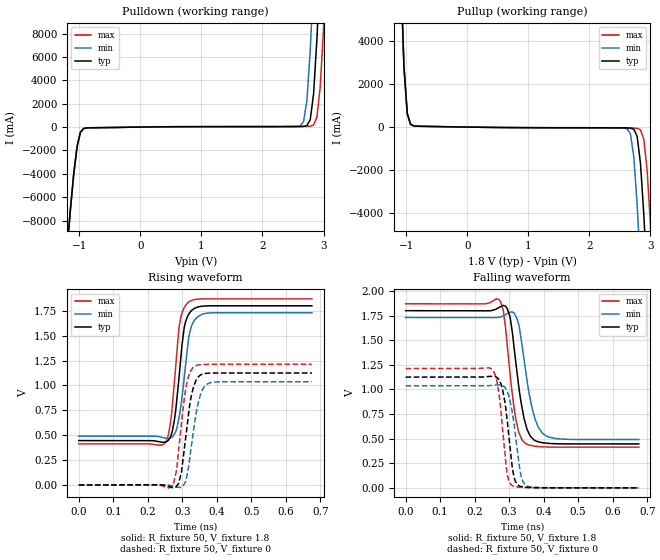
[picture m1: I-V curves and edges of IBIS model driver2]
| IBIS file invchain_weak_tr5ps.ibs created by PYS2IBIS3
| Missouri S&T EMC Lab
[IBIS Ver] 7.1
[File Name] invchain_weak_tr5ps.ibs
[File Rev] 1.0
[Date] Jul 27, 2026
[Source] inv_chain variant 'weak' -- half drive at every stage
[Notes] Parameter selection; sim_time=6.756e-10, tr=tf=5.000e-12.
[Component] invchain
[Manufacturer] s2ibispy study
[Package]
| variable   typ   min   max
R_pkg 0 NA NA
L_pkg 0H NA NA
C_pkg 0F NA NA
[Pin]  signal_name   model_name   R_pin   L_pin   C_pin
VSSQ   VSSQ   Gnd
VCCQ   VCCQ   Power
| IN IN dummy
PAD   PAD   driver2
| End of Component
| Models and submodels in the file (1): driver2 (Output)
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[Model] driver2
Model_type Output
Polarity Non-Inverting
Enable Active-High
Vinl  = 0.8V
Vinh  = 2V
C_comp 0.4680pF NA NA
[Temperature Range] 27.0000 27.0000 27.0000
[Voltage Range] 1.8000V 1.7000V 1.9000V
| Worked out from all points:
|   slope of the pulldown table from 0 to 0.27 V, typ, clamps not added: 14.1 ohm
|   slope of the pullup table from 0 to 0.27 V, typ, clamps not added: 24.6 ohm
|   rising waveform, R_fixture 50, V_fixture 1.8: 20-80 % time 23.7ps typ, 25.1ps min, 21.9ps max; typ from 0.446 V to 1.8 V
|   rising waveform, R_fixture 50, V_fixture 0: 20-80 % time 25.4ps typ, 26.9ps min, 23.6ps max; typ from 0 V to 1.12 V
|   falling waveform, R_fixture 50, V_fixture 1.8: 20-80 % time 31.4ps typ, 35.7ps min, 28ps max; typ from 1.8 V to 0.446 V
|   falling waveform, R_fixture 50, V_fixture 0: 20-80 % time 22.1ps typ, 24.3ps min, 20.3ps max; typ from 1.12 V to 0 V
[Pulldown]
| Voltage   I(typ)   I(min)   I(max)
-1.8V     -50.22A    -50.22A    -50.22A
-1.2V     -10.44A    -10.44A    -10.44A
-1.036V   -1.67A     -1.668A    -1.672A
-927.3mV  -121.6mA   -118.9mA   -124mA
2.618V    48.73mA    103.1mA    49.35mA
2.727V    131.8mA    2.281A     54.59mA
2.782V    631.5mA    6.58A      69.15mA
2.836V    2.833A     12.65A     170.1mA
2.891V    7.503A     19.29A     839.8mA
2.946V    13.76A     25.94A     3.459A
3V        20.41A     32.59A     8.47A
3.6V      93.55A     105.7A     81.36A
[Pullup]
| Voltage   I(typ)   I(min)   I(max)
-1.8V     93.5A      93.5A      93.5A
-1.091V   7.473A     7.472A     7.473A
-981.8mV  621.2mA    620.4mA    621.9mA
-872.7mV  52.26mA    51.37mA    53.06mA
2.618V    -40.01mA   -79.32mA   -40.56mA
2.727V    -99.7mA    -1.375A    -44.4mA
2.782V    -427.1mA   -3.579A    -55.14mA
2.836V    -1.672A    -6.535A    -126.4mA
2.891V    -4.036A    -9.883A    -555.7mA
2.946V    -7.076A    -13.45A    -2.002A
3V        -10.47A    -17.07A    -4.511A
3.6V      -50.25A    -56.88A    -43.62A
[Ramp]
| variable   typ   min   max
dV/dt_r 0.6750/0.02533n 0.6222/0.02686n 0.7272/0.02371n
dV/dt_f 0.8123/0.03153n 0.7501/0.03447n 0.8728/0.02932n
R_load = 50
[Rising Waveform]
R_fixture = 50
V_fixture = 1.8
|time   V(typ)   V(min)   V(max)
0s        446.2mV    490.9mV    413.3mV
249.6ps   430.6mV    472.5mV    421.6mV
266.5ps   487.5mV    473.3mV    646.8mV
284.7ps   875mV      577.5mV    1.361V
292.8ps   1.159V     723mV      1.631V
305ps     1.573V     1.057V     1.779V
319.2ps   1.721V     1.493V     1.84V
334.1ps   1.773V     1.65V      1.862V
365.2ps   1.798V     1.723V     1.87V
675.6ps   1.8V       1.731V     1.87V
[Rising Waveform]
R_fixture = 50
V_fixture = 0
|time   V(typ)   V(min)   V(max)
0s        17.4nV     16.96nV    17.93nV
269.2ps   -25.24mV   -6.884mV   -16.44mV
283.4ps   -11.57mV   -21.96mV   148.3mV
290.1ps   20.73mV    -24.07mV   360.8mV
310.4ps   497.2mV    39.29mV    973.8mV
323.9ps   853.2mV    324.8mV    1.145V
338.2ps   1.038V     678.5mV    1.197V
354.4ps   1.108V     926.9mV    1.209V
380.1ps   1.124V     1.027V     1.212V
675.6ps   1.125V     1.037V     1.212V
[Falling Waveform]
R_fixture = 50
V_fixture = 1.8
|time   V(typ)   V(min)   V(max)
0s        1.8V       1.731V     1.87V
270.5ps   1.832V     1.734V     1.914V
283.4ps   1.854V     1.749V     1.793V
302.3ps   1.742V     1.783V     1.167V
318.5ps   1.293V     1.75V      709.5mV
328.7ps   1.007V     1.649V     555.8mV
346.9ps   654mV      1.204V     450.9mV
372.6ps   485mV      723.8mV    424.1mV
405.1ps   454.6mV    531.1mV    415.4mV
675.6ps   446.2mV    490.9mV    413.3mV
[Falling Waveform]
R_fixture = 50
V_fixture = 0
|time   V(typ)   V(min)   V(max)
0s        1.125V     1.037V     1.212V
251.6ps   1.134V     1.042V     1.202V
269.2ps   1.107V     1.047V     987.2mV
281.3ps   992.8mV    1.039V     580mV
294.2ps   693.7mV    980mV      145.2mV
310.4ps   177.7mV    736.5mV    18.94mV
318.5ps   64.64mV    526.7mV    11.1mV
334.1ps   13.3mV     127.1mV    5.413mV
352.4ps   5.416mV    17.43mV    2.228mV
675.6ps   97.61nV    78.37nV    75.13nV
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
